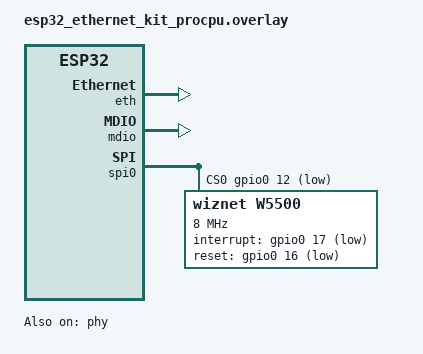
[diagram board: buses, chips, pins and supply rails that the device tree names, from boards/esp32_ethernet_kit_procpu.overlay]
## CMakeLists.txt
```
# SPDX-License-Identifier: Apache-2.0

cmake_minimum_required(VERSION 3.20.0)

find_package(Zephyr REQUIRED HINTS $ENV{ZEPHYR_BASE})
project(ethernet_2)

FILE(GLOB app_sources src/*.c)
target_sources(app PRIVATE ${app_sources})

#zephyr_library_sources(drivers/ethernet/eth_w5500.c)
```

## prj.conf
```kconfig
#CONFIG_PRINTK=y

# Configuração do Ethernet (para W5500)
CONFIG_ETH_W5500=y

# Habilitar Networking e Configuração Automática de IP
CONFIG_NETWORKING=y
CONFIG_NET_L2_ETHERNET=y
CONFIG_NET_CONFIG_AUTO_INIT=y

# Habilitar IPv4 e DHCP
CONFIG_NET_IPV4=y
CONFIG_NET_DHCPV4=y

# Configurações para Redes TCP/UDP
CONFIG_NET_TCP=y
CONFIG_NET_UDP=y

# Configuração de Buffers para pacotes Ethernet
CONFIG_NET_BUF_RX_COUNT=10
CONFIG_NET_BUF_TX_COUNT=10

# Desabilitar recursos desnecessários
CONFIG_NET_LOG=n
CONFIG_NET_SHELL=n
CONFIG_NET_CONFIG_SETTINGS=n

# DNS (não necessário por enquanto)
CONFIG_DNS_RESOLVER=n
CONFIG_DNS_SERVER_IP_ADDRESSES=n

# Configurações do SPI para o nRF52833
CONFIG_SPI=y
CONFIG_SPI_NRFX=y
```

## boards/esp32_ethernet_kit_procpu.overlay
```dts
/*
 * Copyright (c) 2022 Grant Ramsay <grant.ramsay@hotmail.com>
 *
 * SPDX-License-Identifier: Apache-2.0
 */

&eth {
	status = "okay";
};

&phy {
	status = "okay";
};

&mdio {
	status = "okay";
};

//Configurar pinos
&spi0 {
    status = "okay";
    cs-gpios = <&gpio0 12 GPIO_ACTIVE_LOW>;  /* Chip Select no pino P0.12 */
    w5500: w5500@0 {
        compatible = "wiznet,w5500";
        reg = <0>;  /* Usar CS na posição 0 */
        spi-max-frequency = <8000000>;  /* Frequência máxima SPI */
        interrupt-gpios = <&gpio0 17 GPIO_ACTIVE_LOW>; /* INT no P0.17 */
        reset-gpios = <&gpio0 16 GPIO_ACTIVE_LOW>;    /* RESET no P0.16 */
    };
};
```

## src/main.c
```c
/*
 * Copyright (c) 2022 Grant Ramsay <grant.ramsay@hotmail.com>
 *
 * SPDX-License-Identifier: Apache-2.0
 */

//Includes 
//#include <zephyr/device.h>
//#include <zephyr/drivers/spi.h>
//#include <zephyr/net/ethernet.h>
//#include <zephyr/net/net_if.h>




int main(void)
{
    //printf("OLA");
	//Verificar dispositivos
	//const struct device *spi_dev = DEVICE_DT_GET(DT_NODELABEL(spi1));
    //const struct device *eth_dev = DEVICE_DT_GET(DT_NODELABEL(w5500));
	//const struct device *w5500_dev = device_get_binding(DT_LABEL(DT_NODELABEL(w5500)));

	//if (!w5500_dev) {
	//	printk("Failed to get W5500 device\n");
	//	return;
	//}

    //if (!device_is_ready(spi_dev)) {
    //    printk("SPI device not ready\n");
    //    return -1;
    //}

    //if (!device_is_ready(eth_dev)) {
    //    printk("W5500 Ethernet device not ready\n");
    //    return -1;
    //}

    //printk("W5500 initialized successfully\n");

    // Configurações (DHCP or IP estático)
    //struct net_if *iface = net_if_get_default();
    //net_dhcpv4_start(iface);
	return 0;
}
```
